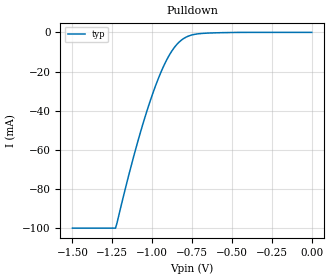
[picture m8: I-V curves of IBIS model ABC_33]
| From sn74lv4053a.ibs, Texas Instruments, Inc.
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[Model]   ABC_33
Model_type   Input
Vinl = .99
Vinh = 2.32
|   typ   min   max
C_comp   2pf   NA   NA
[Voltage Range]   3.3   NA   NA
[Temperature Range]   27   NA   NA
[Power Clamp Reference]   3.3   NA   NA
[GND Clamp Reference]   -0   NA   NA
[Pulldown]
|   Voltage   I(typ)   I(min)   I(max)
-1.5V     -100mA     NA         NA
-1.23V    -100mA     NA         NA
-1.1V     -58.6mA    NA         NA
-1.05V    -44.57mA   NA         NA
-1V       -32.03mA   NA         NA
-950mV    -21.26mA   NA         NA
-910mV    -14.19mA   NA         NA
-860mV    -7.592mA   NA         NA
-820mV    -4.157mA   NA         NA
-760mV    -1.53mA    NA         NA
-670mV    -449.8uA   NA         NA
0V        0A         NA         NA
